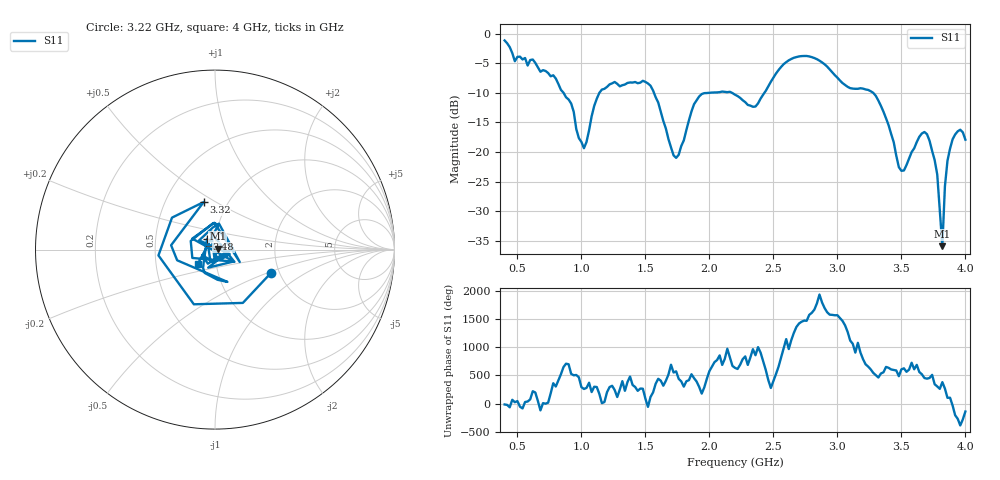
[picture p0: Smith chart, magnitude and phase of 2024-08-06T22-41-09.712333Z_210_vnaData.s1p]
!Created with skrf (http://scikit-rf.org).
# Hz S RI R 50.0
!freq ReS11 ImS11
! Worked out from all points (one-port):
!   181 points, 400 MHz to 4 GHz, reference 50 ohm
!   lowest |S11| = -35.9 dB at 3.82 GHz (marker M1), VSWR 1.03, Z = 51.5 + j0.599 ohm
!   |S11| at or under -10 dB: 860.7 MHz to 1.14 GHz (279.2 MHz wide, 27.9 % of centre); 1.567 GHz to 1.991 GHz (424.1 MHz wide, 23.8 % of centre); 3.281 GHz to end of sweep (the widest 3 of 4)
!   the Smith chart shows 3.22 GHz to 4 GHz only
!   S11 on the Smith chart (normalised r, x): 3.22 GHz: 1.81, -0.53; 3.32 GHz: 0.77, +0.44; 3.48 GHz: 0.91, +0.11; 4 GHz: 0.81, -0.14
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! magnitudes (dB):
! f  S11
! 400 MHz  -1.1
! 480 MHz  -4.6
! 620 MHz  -4.4
! 860 MHz  -10.0
! 1.02 GHz  -19.4
! 1.14 GHz  -10.0
! 1.3 GHz  -8.9
! 1.54 GHz  -8.8
! 1.72 GHz  -20.6
! 1.76 GHz  -20.5
! 1.92 GHz  -10.6
! 2.2 GHz  -10.3
! 2.36 GHz  -12.3
! 2.66 GHz  -4.1
! 2.84 GHz  -4.3
! 3.1 GHz  -9.2
! 3.22 GHz  -9.4
! 3.32 GHz  -11.3
! 3.48 GHz  -22.6
! 3.56 GHz  -21.1
! 3.66 GHz  -16.9
! 3.72 GHz  -18.1
! 3.78 GHz  -23.8
! 3.82 GHz  -35.9
! 3.84 GHz  -25.8
! 3.88 GHz  -19.4
! 3.96 GHz  -16.2
! 4 GHz  -17.9
